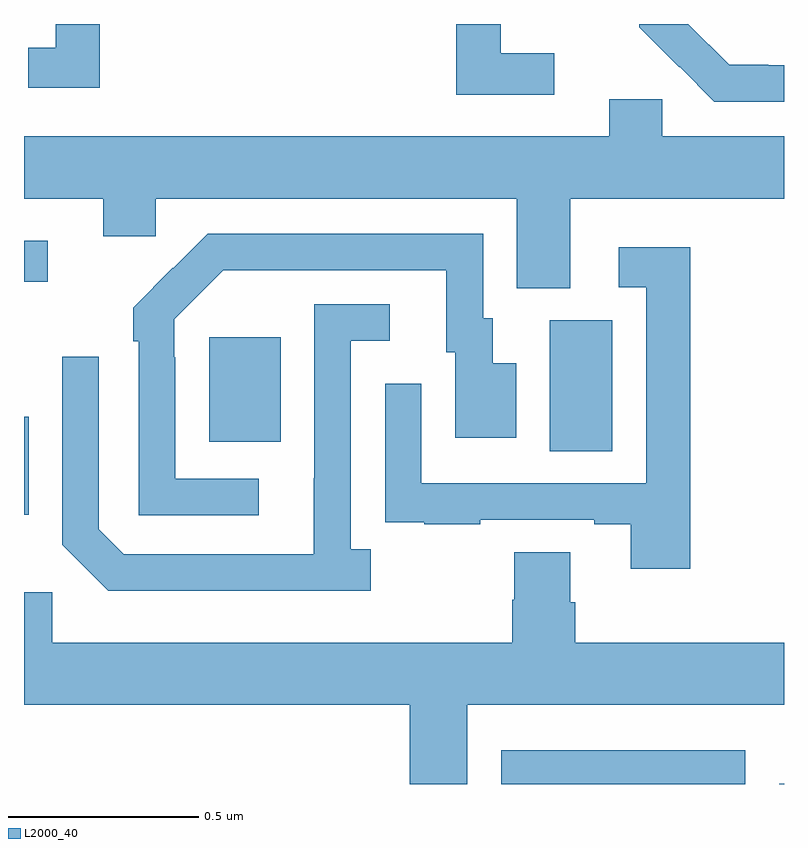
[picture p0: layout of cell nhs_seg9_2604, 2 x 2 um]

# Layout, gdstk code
import gdstk
lib = gdstk.Library(unit=1e-6, precision=1e-09)
def R(c, l, rs):  # rectangles x0, y0, x1, y1
    for r in rs: c.add(gdstk.rectangle(r[:2], r[2:], *l))
def P(c, l, *ps):  # polygons
    for p in ps: c.add(gdstk.Polygon(p, *l))
L2000_40 = (2000, 40)

nhs_seg9_2604 = lib.new_cell('nhs_seg9_2604')
R(nhs_seg9_2604, L2000_40, [(143.256,1241.5,143.898,1241.589), (143.988,1241.5,144,1241.501), (142,1242.209,142.012,1242.466), (143.384,1242.376,143.548,1242.72), (142.487,1242.401,142.675,1242.676), (142,1242.822,142.063,1242.93)])
P(nhs_seg9_2604, L2000_40, [(143.395,1243.423),(143.255,1243.423),(143.255,1243.5),(143.137,1243.5),(143.137,1243.314),(143.395,1243.314)],
  [(142.199,1243.5),(142.083,1243.5),(142.083,1243.437),(142.011,1243.437),(142.011,1243.332),(142.199,1243.332)],
  [(144,1243.392),(143.959,1243.392),(143.959,1243.393),(143.856,1243.393),(143.748,1243.5),(143.619,1243.5),(143.619,1243.491),(143.724,1243.386),(143.725,1243.387),(143.816,1243.296),(144,1243.296)],
  [(143.437,1243.04),(144,1243.04),(144,1243.204),(143.679,1243.204),(143.679,1243.302),(143.54,1243.302),(143.54,1243.204),(142,1243.204),(142,1243.04),(142.208,1243.04),(142.208,1242.942),(142.347,1242.942),(142.347,1243.04),(143.297,1243.04),(143.297,1242.805),(143.437,1242.805)],
  [(142.618,1242.303),(142.398,1242.303),(142.398,1242.623),(142.395,1242.623),(142.395,1242.723),(142.524,1242.852),(143.111,1242.852),(143.111,1242.636),(143.135,1242.636),(143.135,1242.411),(143.296,1242.411),(143.296,1242.607),(143.233,1242.607),(143.233,1242.726),(143.208,1242.726),(143.208,1242.948),(142.484,1242.948),(142.393,1242.857),(142.392,1242.858),(142.287,1242.753),(142.287,1242.665),(142.302,1242.665),(142.302,1242.207),(142.618,1242.207)],
  [(143.753,1242.913),(143.565,1242.913),(143.565,1242.807),(143.637,1242.807),(143.637,1242.291),(143.046,1242.291),(143.046,1242.553),(142.95,1242.553),(142.95,1242.298),(142.951,1242.298),(142.951,1242.189),(143.053,1242.189),(143.053,1242.183),(143.201,1242.183),(143.201,1242.195),(143.501,1242.195),(143.501,1242.183),(143.597,1242.183),(143.597,1242.066),(143.753,1242.066)],
  [(142.912,1242.118),(142.86,1242.118),(142.86,1242.666),(142.963,1242.666),(142.963,1242.762),(142.764,1242.762),(142.764,1242.305),(142.763,1242.305),(142.763,1242.105),(142.263,1242.105),(142.197,1242.171),(142.197,1242.625),(142.101,1242.625),(142.101,1242.129),(142.222,1242.008),(142.912,1242.008)],
  [(143.167,1241.708),(144,1241.708),(144,1241.872),(143.45,1241.872),(143.45,1241.978),(143.437,1241.978),(143.437,1242.11),(143.29,1242.11),(143.29,1241.985),(143.285,1241.985),(143.285,1241.872),(142.074,1241.872),(142.074,1242.004),(142,1242.004),(142,1241.708),(143.015,1241.708),(143.015,1241.5),(143.167,1241.5)])

lib.write_gds('nhs_seg9_2604.gds')
